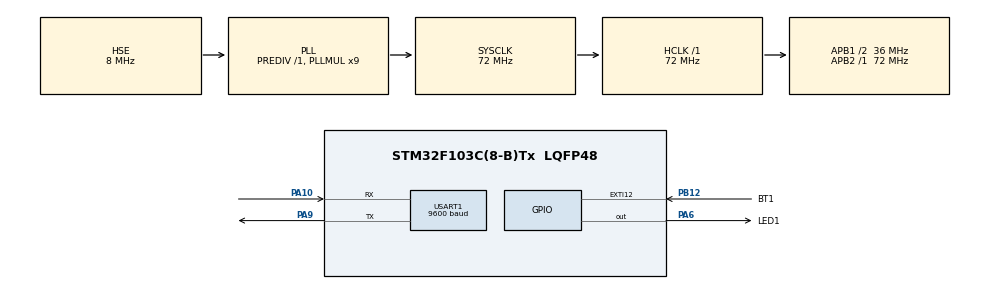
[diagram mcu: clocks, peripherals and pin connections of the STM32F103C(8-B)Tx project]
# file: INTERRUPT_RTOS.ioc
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FREERTOS.Tasks01=defaultTask,0,128,StartDefaultTask,Default,NULL,Dynamic,NULL,NULL
FREERTOS.configUSE_NEWLIB_REENTRANT=1
Mcu.Family=STM32F1
Mcu.Name=STM32F103C(8-B)Tx
Mcu.Package=LQFP48
NVIC.EXTI15_10_IRQn=true\:5\:0\:false\:false\:true\:true\:true\:true\:true
NVIC.PriorityGroup=NVIC_PRIORITYGROUP_4
NVIC.TIM4_IRQn=true\:15\:0\:false\:false\:true\:false\:false\:true\:true
NVIC.TimeBase=TIM4_IRQn
NVIC.TimeBaseIP=TIM4
NVIC.USART1_IRQn=true\:5\:0\:false\:false\:true\:true\:true\:true\:true
PA10.Mode=Asynchronous
PA10.Signal=USART1_RX
PA13.Mode=Serial_Wire
PA13.Signal=SYS_JTMS-SWDIO
PA14.Mode=Serial_Wire
PA14.Signal=SYS_JTCK-SWCLK
PA6.GPIO_Label=LED1
PA6.Signal=GPIO_Output
PA9.Mode=Asynchronous
PA9.Signal=USART1_TX
PB12.GPIO_Label=BT1
PB12.GPIO_ModeDefaultEXTI=GPIO_MODE_IT_FALLING
PB12.Signal=GPXTI12
PD0-OSC_IN.Mode=HSE-External-Oscillator
PD0-OSC_IN.Signal=RCC_OSC_IN
PD1-OSC_OUT.Mode=HSE-External-Oscillator
PD1-OSC_OUT.Signal=RCC_OSC_OUT
ProjectManager.HeapSize=0x200
ProjectManager.StackSize=0x400
ProjectManager.TargetToolchain=STM32CubeIDE
RCC.AHBFreq_Value=72000000
RCC.APB1CLKDivider=RCC_HCLK_DIV2
RCC.APB1Freq_Value=36000000
RCC.APB1TimFreq_Value=72000000
RCC.APB2Freq_Value=72000000
RCC.APB2TimFreq_Value=72000000
RCC.HCLKFreq_Value=72000000
RCC.PLLMUL=RCC_PLL_MUL9
RCC.PLLSourceVirtual=RCC_PLLSOURCE_HSE
RCC.SYSCLKFreq_VALUE=72000000
RCC.SYSCLKSource=RCC_SYSCLKSOURCE_PLLCLK
RCC.USBFreq_Value=72000000
USART1.BaudRate=9600
USART1.VirtualMode=VM_ASYNC
VP_FREERTOS_VS_CMSIS_V1.Mode=CMSIS_V1
VP_SYS_VS_tim4.Mode=TIM4
board=custom

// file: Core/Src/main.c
/* USER CODE BEGIN Header */
/**
 ******************************************************************************
 * @file           : main.c
 * @brief          : Main program body
 ******************************************************************************
 * @attention
 *
 * Copyright (c) 2023 STMicroelectronics.
 * All rights reserved.
 *
 * This software is licensed under terms that can be found in the LICENSE file
 * in the root directory of this software component.
 * If no LICENSE file comes with this software, it is provided AS-IS.
 *
 ******************************************************************************
 */
/* USER CODE END Header */
#include "main.h"
#include "cmsis_os.h"

/* USER CODE BEGIN Includes */
#include "stdio.h"
#include "string.h"
/* USER CODE END Includes */

UART_HandleTypeDef huart1;

osThreadId defaultTaskHandle;
/* USER CODE BEGIN PV */
TaskHandle_t Task2Handle;
/* USER CODE END PV */

void SystemClock_Config(void);
static void MX_GPIO_Init(void);
static void MX_USART1_UART_Init(void);
void StartDefaultTask(void const *argument);

/* USER CODE BEGIN PFP */
void Task2(void *parameter);
/* USER CODE END PFP */

/* USER CODE BEGIN 0 */
char *p = "xin chao\n";
uint8_t DataRx;
void HAL_GPIO_EXTI_Callback(uint16_t GPIO_Pin) {
	if (GPIO_Pin == BT1_Pin) {
		HAL_GPIO_TogglePin(LED1_GPIO_Port, LED1_Pin);
		BaseType_t xHigherDefaulTask;
		xHigherDefaulTask = xTaskResumeFromISR(defaultTaskHandle);
		portEND_SWITCHING_ISR(xHigherDefaulTask);
	}
}
void HAL_UART_RxCpltCallback(UART_HandleTypeDef *huart) {
	HAL_UART_Receive_IT(&huart1, &DataRx, 1);
	BaseType_t xHigher;
	if (DataRx == 'c') {
		xHigher = xTaskResumeFromISR(Task2Handle);		// switch true / false
		portEND_SWITCHING_ISR(xHigher);		// start switch task
	}
}
/* USER CODE END 0 */

int main(void) {

	/* MCU Configuration--------------------------------------------------------*/

	/* Reset of all peripherals, Initializes the Flash interface and the Systick. */
	HAL_Init();

	/* Configure the system clock */
	SystemClock_Config();

	/* Initialize all configured peripherals */
	MX_GPIO_Init();
	MX_USART1_UART_Init();
	/* USER CODE BEGIN 2 */
	HAL_UART_Receive_IT(&huart1, &DataRx, 1);
	//printf("xin chao !");
	HAL_UART_Transmit(&huart1, (uint8_t*) p, strlen(p), 1000);
	/* USER CODE END 2 */

	/* Create the thread(s) */
	/* definition and creation of defaultTask */
	osThreadDef(defaultTask, StartDefaultTask, osPriorityNormal, 0, 128);
	defaultTaskHandle = osThreadCreate(osThread(defaultTask), NULL);

	/* USER CODE BEGIN RTOS_THREADS */
	xTaskCreate(Task2, "Task02", 128, NULL, osPriorityAboveNormal + 3,
			&Task2Handle);
	/* add threads, ... */
	/* USER CODE END RTOS_THREADS */

	/* Start scheduler */
	osKernelStart();

	/* We should never get here as control is now taken by the scheduler */
	/* Infinite loop */
	while (1) {

	}
}

void SystemClock_Config(void) {
	RCC_OscInitTypeDef RCC_OscInitStruct = { 0 };
	RCC_ClkInitTypeDef RCC_ClkInitStruct = { 0 };

	/** Initializes the RCC Oscillators according to the specified parameters
	 * in the RCC_OscInitTypeDef structure.
	 */
	RCC_OscInitStruct.OscillatorType = RCC_OSCILLATORTYPE_HSE;
	RCC_OscInitStruct.HSEState = RCC_HSE_ON;
	RCC_OscInitStruct.HSEPredivValue = RCC_HSE_PREDIV_DIV1;
	RCC_OscInitStruct.HSIState = RCC_HSI_ON;
	RCC_OscInitStruct.PLL.PLLState = RCC_PLL_ON;
	RCC_OscInitStruct.PLL.PLLSource = RCC_PLLSOURCE_HSE;
	RCC_OscInitStruct.PLL.PLLMUL = RCC_PLL_MUL9;
	if (HAL_RCC_OscConfig(&RCC_OscInitStruct) != HAL_OK) {
		Error_Handler();
	}

	/** Initializes the CPU, AHB and APB buses clocks
	 */
	RCC_ClkInitStruct.ClockType = RCC_CLOCKTYPE_HCLK | RCC_CLOCKTYPE_SYSCLK
			| RCC_CLOCKTYPE_PCLK1 | RCC_CLOCKTYPE_PCLK2;
	RCC_ClkInitStruct.SYSCLKSource = RCC_SYSCLKSOURCE_PLLCLK;
	RCC_ClkInitStruct.AHBCLKDivider = RCC_SYSCLK_DIV1;
	RCC_ClkInitStruct.APB1CLKDivider = RCC_HCLK_DIV2;
	RCC_ClkInitStruct.APB2CLKDivider = RCC_HCLK_DIV1;

	if (HAL_RCC_ClockConfig(&RCC_ClkInitStruct, FLASH_LATENCY_2) != HAL_OK) {
		Error_Handler();
	}
}

static void MX_USART1_UART_Init(void) {

	huart1.Instance = USART1;
	huart1.Init.BaudRate = 9600;
	huart1.Init.WordLength = UART_WORDLENGTH_8B;
	huart1.Init.StopBits = UART_STOPBITS_1;
	huart1.Init.Parity = UART_PARITY_NONE;
	huart1.Init.Mode = UART_MODE_TX_RX;
	huart1.Init.HwFlowCtl = UART_HWCONTROL_NONE;
	huart1.Init.OverSampling = UART_OVERSAMPLING_16;
	if (HAL_UART_Init(&huart1) != HAL_OK) {
		Error_Handler();
	}

}

static void MX_GPIO_Init(void) {
	GPIO_InitTypeDef GPIO_InitStruct = { 0 };

	/* GPIO Ports Clock Enable */
	__HAL_RCC_GPIOD_CLK_ENABLE();
	__HAL_RCC_GPIOA_CLK_ENABLE();
	__HAL_RCC_GPIOB_CLK_ENABLE();

	/*Configure GPIO pin Output Level */
	HAL_GPIO_WritePin(LED1_GPIO_Port, LED1_Pin, GPIO_PIN_RESET);

	/*Configure GPIO pin : LED1_Pin */
	GPIO_InitStruct.Pin = LED1_Pin;
	GPIO_InitStruct.Mode = GPIO_MODE_OUTPUT_PP;
	GPIO_InitStruct.Pull = GPIO_NOPULL;
	GPIO_InitStruct.Speed = GPIO_SPEED_FREQ_LOW;
	HAL_GPIO_Init(LED1_GPIO_Port, &GPIO_InitStruct);

	/*Configure GPIO pin : BT1_Pin */
	GPIO_InitStruct.Pin = BT1_Pin;
	GPIO_InitStruct.Mode = GPIO_MODE_IT_FALLING;
	GPIO_InitStruct.Pull = GPIO_NOPULL;
	HAL_GPIO_Init(BT1_GPIO_Port, &GPIO_InitStruct);

	/* EXTI interrupt init*/
	HAL_NVIC_SetPriority(EXTI15_10_IRQn, 5, 0);
	HAL_NVIC_EnableIRQ(EXTI15_10_IRQn);

}

/* USER CODE BEGIN 4 */

void Task2(void *parameter) {
	char *t2 = "Run Task 2 !!\n";
	while (1) {
		vTaskSuspend(NULL);
		HAL_UART_Transmit(&huart1, (uint8_t*) t2, strlen((char*) t2), 1000);
		vTaskDelay(10);
	}
}
/* USER CODE END 4 */

void StartDefaultTask(void const *argument) {
	/* USER CODE BEGIN 5 */
	char *t1 = "Run Task Defaul !!\n";

	/* Infinite loop */
	for (;;) {
		HAL_UART_Transmit(&huart1, (uint8_t*) t1, strlen((char*) t1), 1000);
		vTaskSuspend(NULL);
		vTaskDelay(10);
	}
	/* USER CODE END 5 */
}

void HAL_TIM_PeriodElapsedCallback(TIM_HandleTypeDef *htim) {
	if (htim->Instance == TIM4) {
		HAL_IncTick();
	}
}

void Error_Handler(void) {
	__disable_irq();
	while (1) {
	}
}
